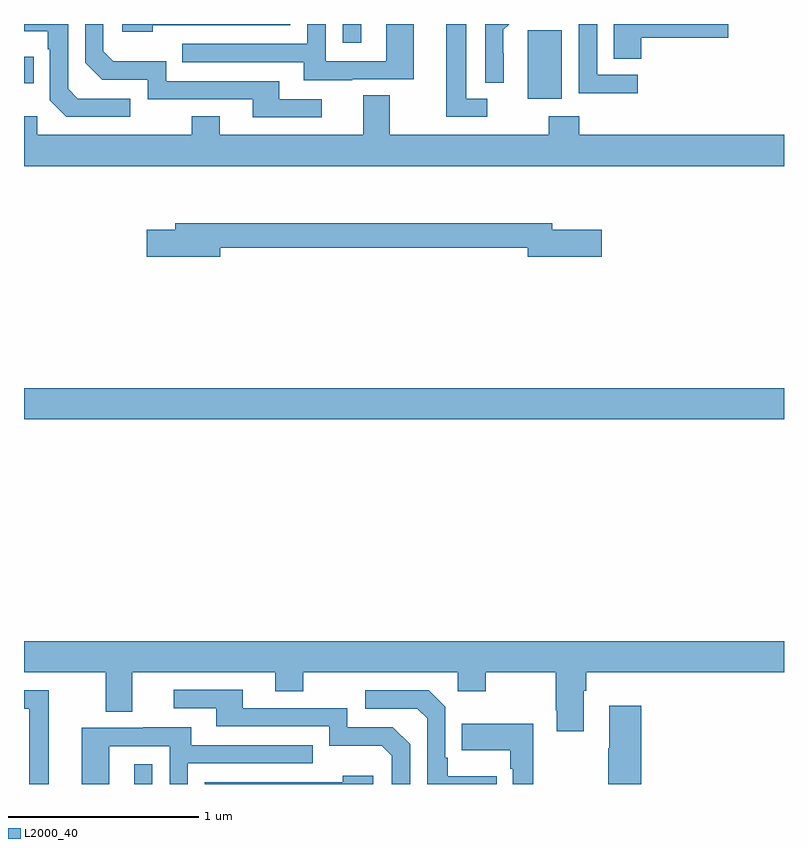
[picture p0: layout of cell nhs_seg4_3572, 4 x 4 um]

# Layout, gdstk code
import gdstk
lib = gdstk.Library(unit=1e-6, precision=1e-09)
def R(c, l, rs):  # rectangles x0, y0, x1, y1
    for r in rs: c.add(gdstk.rectangle(r[:2], r[2:], *l))
def P(c, l, *ps):  # polygons
    for p in ps: c.add(gdstk.Polygon(p, *l))
L2000_40 = (2000, 40)

nhs_seg4_3572 = lib.new_cell('nhs_seg4_3572')
R(nhs_seg4_3572, L2000_40, [(299.579,794.9,299.676,795.004), (299,796.82,303,796.984), (301.652,798.506,301.831,798.867), (299,798.587,299.051,798.727), (300.678,798.801,300.775,798.9)])
P(nhs_seg4_3572, L2000_40, [(299.56,798.507),(299.283,798.507),(299.232,798.558),(299.232,798.9),(299,798.9),(299,798.863),(299.124,798.863),(299.124,798.767),(299.136,798.767),(299.136,798.498),(299.223,798.411),(299.56,798.411)],
  [(300.568,798.504),(300.343,798.504),(300.343,798.6),(299.748,798.6),(299.748,798.703),(299.471,798.703),(299.418,798.756),(299.418,798.9),(299.322,798.9),(299.322,798.696),(299.412,798.606),(299.652,798.606),(299.652,798.504),(300.203,798.504),(300.203,798.408),(300.568,798.408)],
  [(300.727,798.609),(301.051,798.609),(301.051,798.9),(300.906,798.9),(300.906,798.705),(300.588,798.705),(300.588,798.9),(300.492,798.9),(300.492,798.795),(299.833,798.795),(299.833,798.699),(300.473,798.699),(300.473,798.605),(300.727,798.605)],
  [(302.249,798.827),(302.707,798.827),(302.707,798.9),(302.105,798.9),(302.105,798.718),(302.249,798.718)],
  [(302.23,798.633),(302.016,798.633),(302.016,798.9),(301.92,798.9),(301.92,798.535),(302.23,798.535)],
  [(301.524,798.746),(301.523,798.746),(301.523,798.869),(301.554,798.9),(301.428,798.9),(301.428,798.592),(301.524,798.592)],
  [(299.678,798.894),(300.402,798.894),(300.402,798.9),(299.517,798.9),(299.517,798.86),(299.678,798.86)],
  [(301.438,798.507),(301.327,798.507),(301.327,798.9),(301.223,798.9),(301.223,798.411),(301.438,798.411)],
  [(303,798.316),(301.922,798.316),(301.922,798.415),(301.762,798.415),(301.762,798.316),(300.925,798.316),(300.925,798.524),(300.785,798.524),(300.785,798.316),(300.031,798.316),(300.031,798.415),(299.884,798.415),(299.884,798.316),(299.07,798.316),(299.07,798.415),(299,798.415),(299,798.152),(303,798.152)],
  [(300.034,797.722),(301.652,797.722),(301.652,797.675),(302.041,797.675),(302.041,797.817),(301.78,797.817),(301.78,797.851),(299.795,797.851),(299.795,797.817),(299.646,797.817),(299.646,797.675),(300.034,797.675)],
  [(299,795.488),(299.429,795.488),(299.429,795.28),(299.569,795.28),(299.569,795.488),(300.323,795.488),(300.323,795.389),(300.471,795.389),(300.471,795.488),(301.284,795.488),(301.284,795.389),(301.431,795.389),(301.431,795.488),(301.798,795.488),(301.798,795.289),(301.805,795.289),(301.805,795.177),(301.945,795.177),(301.945,795.392),(301.958,795.392),(301.958,795.488),(303,795.488),(303,795.652),(299,795.652)],
  [(301.032,795.108),(300.942,795.198),(300.702,795.198),(300.702,795.3),(300.151,795.3),(300.151,795.396),(299.787,795.396),(299.787,795.3),(300.011,795.3),(300.011,795.204),(300.606,795.204),(300.606,795.101),(300.883,795.101),(300.936,795.048),(300.936,794.9),(301.032,794.9)],
  [(301.487,794.941),(301.231,794.941),(301.231,795.037),(301.218,795.037),(301.218,795.306),(301.131,795.393),(300.795,795.393),(300.795,795.297),(301.071,795.297),(301.122,795.246),(301.122,794.9),(301.487,794.9)],
  [(299.131,795.393),(299,795.393),(299,795.297),(299.027,795.297),(299.027,794.9),(299.131,794.9)],
  [(302.249,795.313),(302.081,795.313),(302.081,795.089),(302.074,795.089),(302.074,794.9),(302.249,794.9)],
  [(301.681,795.217),(301.303,795.217),(301.303,795.077),(301.56,795.077),(301.56,794.981),(301.572,794.981),(301.572,794.9),(301.681,794.9)],
  [(299.448,795.099),(299.766,795.099),(299.766,794.9),(299.862,794.9),(299.862,795.009),(300.521,795.009),(300.521,795.105),(299.881,795.105),(299.881,795.199),(299.627,795.199),(299.627,795.195),(299.303,795.195),(299.303,794.9),(299.448,794.9)],
  [(300.838,794.944),(300.677,794.944),(300.677,794.91),(299.952,794.91),(299.952,794.9),(300.838,794.9)])

lib.write_gds('nhs_seg4_3572.gds')
